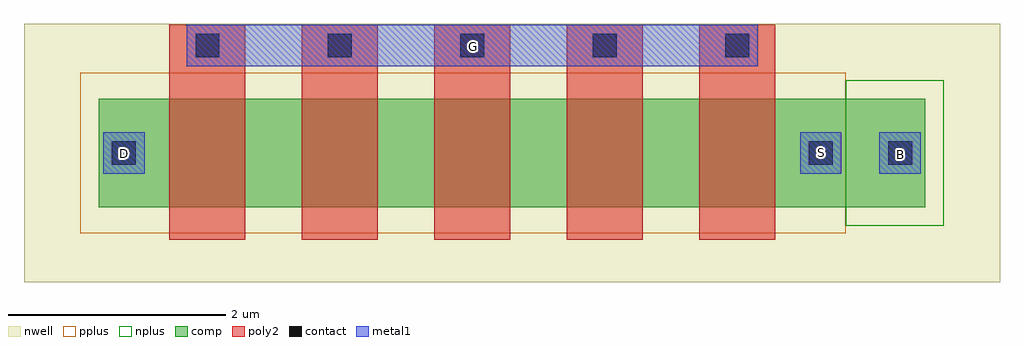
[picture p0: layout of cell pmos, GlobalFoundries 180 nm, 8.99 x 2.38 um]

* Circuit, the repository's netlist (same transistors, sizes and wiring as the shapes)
* Extracted by KLayout with GF180MCU LVS runset on : 24/12/2023 17:54

* cell pmos
.SUBCKT pmos
* device instance $1 r0 *1 0.54,0.5 pfet_03v3
M$1 \$5 G D B pfet_03v3 L=0.7U W=1U AS=0.65P AD=0.26P PS=3.3U PD=1.52U
* device instance $2 r0 *1 1.76,0.5 pfet_03v3
M$2 \$6 G \$5 B pfet_03v3 L=0.7U W=1U AS=0.26P AD=0.26P PS=1.52U PD=1.52U
* device instance $3 r0 *1 2.98,0.5 pfet_03v3
M$3 \$7 G \$6 B pfet_03v3 L=0.7U W=1U AS=0.26P AD=0.26P PS=1.52U PD=1.52U
* device instance $4 r0 *1 4.2,0.5 pfet_03v3
M$4 \$8 G \$7 B pfet_03v3 L=0.7U W=1U AS=0.26P AD=0.26P PS=1.52U PD=1.52U
* device instance $5 r0 *1 5.42,0.5 pfet_03v3
M$5 S G \$8 B pfet_03v3 L=0.7U W=1U AS=0.26P AD=0.65P PS=1.52U PD=3.3U
.ENDS pmos

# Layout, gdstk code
import gdstk
lib = gdstk.Library(unit=1e-6, precision=1e-09)
def R(c, l, rs):  # rectangles x0, y0, x1, y1
    for r in rs: c.add(gdstk.rectangle(r[:2], r[2:], *l))
def A(c, l, x, y, w, h, nx, ny, dx, dy):  # array of equal rectangles
    R(c, l, [(x+i*dx, y+j*dy, x+i*dx+w, y+j*dy+h) for i in range(nx) for j in range(ny)])
nwell = (21, 0)
comp = (22, 0)
poly2 = (30, 0)
pplus = (31, 0)
nplus = (32, 0)
contact = (33, 0)
metal1 = (34, 0)

pfet_dev = lib.new_cell('pfet_dev')
R(pfet_dev, nwell, [(-1.15,-0.69,7.84,1.69)])
R(pfet_dev, comp, [(-0.46,0,0,1), (0,0,5.96,1), (5.96,0,6.42,1), (6.42,0,7.15,1)])
A(pfet_dev, poly2, 0.19, -0.3, 0.7, 1.6, 5, 1, 1.22, 0)
A(pfet_dev, poly2, 0.19, 1.3, 0.7, 0.38, 5, 1, 1.22, 0)
R(pfet_dev, pplus, [(-0.63,-0.24,6.42,1.24)])
R(pfet_dev, nplus, [(6.42,-0.17,7.32,1.17)])
A(pfet_dev, contact, 0.43, 1.38, 0.22, 0.22, 5, 1, 1.22, 0)
R(pfet_dev, contact, [(-0.34,0.39,-0.12,0.61), (6.08,0.39,6.3,0.61), (6.81,0.39,7.03,0.61)])
A(pfet_dev, metal1, 0.35, 1.299, 0.38, 0.382, 5, 1, 1.22, 0)
R(pfet_dev, metal1, [(-0.42,0.309,-0.04,0.691), (6,0.309,6.38,0.691), (6.73,0.309,7.11,0.691)])

pmos = lib.new_cell('pmos')
R(pmos, metal1, [(0.451,1.299,5.551,1.681)])
pmos.add(gdstk.Reference(pfet_dev, (0,0)))
pmos.add(gdstk.Label('D', (-0.224,0.495), layer=34, texttype=10))
pmos.add(gdstk.Label('G', (2.992,1.485), layer=34, texttype=10))
pmos.add(gdstk.Label('S', (6.192,0.503), layer=34, texttype=10))
pmos.add(gdstk.Label('B', (6.924,0.49), layer=34, texttype=10))

lib.write_gds('pmos.gds')
